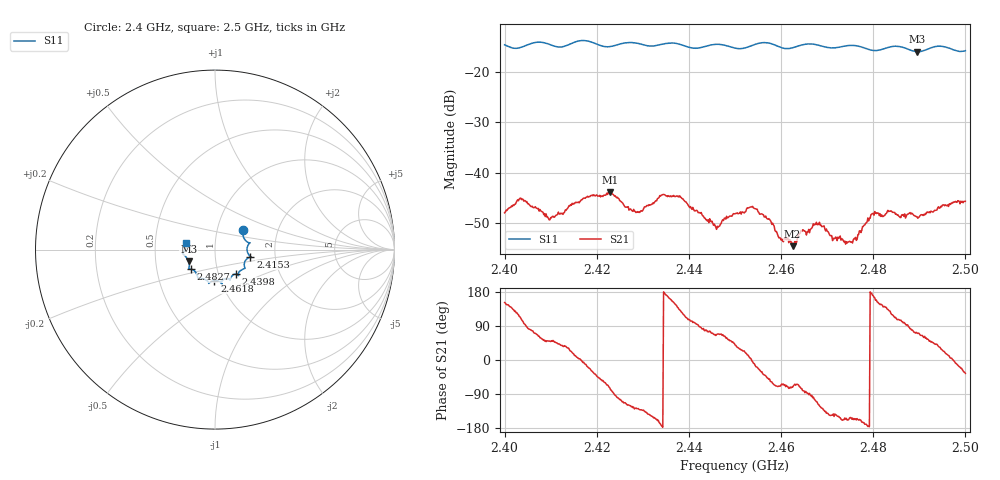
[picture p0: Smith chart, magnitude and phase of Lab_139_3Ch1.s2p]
# Hz S RI R 50
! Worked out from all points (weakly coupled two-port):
!   601 points, 2.4 GHz to 2.5 GHz, reference 50 ohm
!   highest |S21| = -43.88 dB at 2.4228 GHz (marker M1); lowest = -54.7 dB at 2.4625 GHz (marker M2)
!   lowest |S11| = -15.9 dB at 2.4895 GHz (marker M3), VSWR 1.38, Z = 37 - j4.99 ohm
!   |S11| at or under -10 dB: start of sweep to end of sweep
!   S12 and S22 are empty: the file has one direction only
!   S11 on the Smith chart (normalised r, x): 2.4 GHz: 1.33, +0.29; 2.4153 GHz: 1.48, -0.12; 2.4398 GHz: 1.21, -0.34; 2.4618 GHz: 0.94, -0.33; 2.4827 GHz: 0.75, -0.17; 2.5 GHz: 0.72, +0.06
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2.4e9  0.1548 0.1065  -0.00349 0.00189  0 0  0 0
2.403667e9  0.1705 0.0507  -0.00155 0.00515  0 0  0 0
2.409833e9  0.1867 0.0288  0.0022 0.00257  0 0  0 0
2.415333e9  0.1968 -0.039  0.00493 0.00102  0 0  0 0
2.416667e9  0.2027 -0.0431  0.00536 -9.21e-05  0 0  0 0
2.422833e9  0.1639 -0.0747  0.0018 -0.00614  0 0  0 0
2.428833e9  0.1631 -0.1059  -0.00254 -0.0032  0 0  0 0
2.433333e9  0.1298 -0.1341  -0.00518 -0.00203  0 0  0 0
2.439833e9  0.1152 -0.1361  -0.00133 0.00455  0 0  0 0
2.446167e9  0.0842 -0.1703  0.00108 0.00271  0 0  0 0
2.45e9  0.065 -0.1617  0.00298 0.00248  0 0  0 0
2.454333e9  0.0354 -0.1864  0.00424 -0.00101  0 0  0 0
2.46e9  0.0213 -0.1751  0.000873 -0.00194  0 0  0 0
2.461833e9  -0.00308 -0.1727  0.000584 -0.00207  0 0  0 0
2.4625e9  -0.0123 -0.175  0.000574 -0.00176  0 0  0 0
2.466667e9  -0.0345 -0.1882  -0.00015 -0.00279  0 0  0 0
2.475e9  -0.0931 -0.1601  -0.00181 -0.000971  0 0  0 0
2.48e9  -0.1099 -0.123  -0.00386 0.00072  0 0  0 0
2.482667e9  -0.1351 -0.1087  -0.00292 0.00254  0 0  0 0
2.483333e9  -0.1402 -0.1084  -0.00272 0.00306  0 0  0 0
2.4895e9  -0.1461 -0.0658  0.00119 0.00343  0 0  0 0
2.5e9  -0.1593 0.0391  0.00421 -0.003  0 0  0 0
